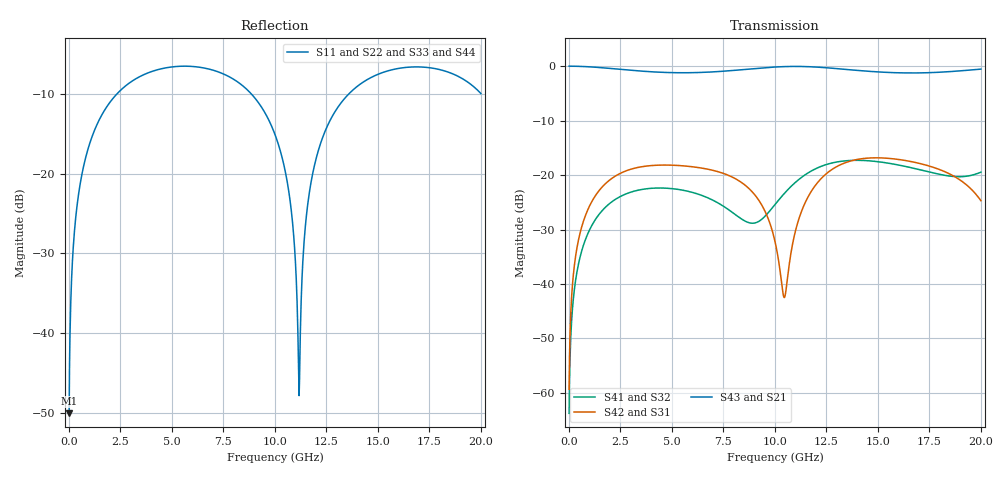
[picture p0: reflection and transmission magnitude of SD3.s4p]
! Touchstone file exported from Circuit Design 2026.1.0
!  File:  local/demo-project/Project1.aedt
!  Generated:  05:06:10 PM Apr 21, 2026
!  Design:  Circuit2
!  Project:  Project1
!  Setup:  LinearFrequency
!  Solution:  LinearFrequency
# GHz S MA R 50.000000
! Terminal data exported
! Port[1] = Port1
! Port[2] = Port2
! Port[3] = Port3
! Port[4] = Port4
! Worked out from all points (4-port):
!   1000 points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, 20 MHz to 20 GHz, reference 50 ohm
!   strongest paths, dB at 20 MHz, 5.02 GHz, 10.02 GHz, 15.02 GHz, 20 GHz:
!     S43: 0.0, -1.2, -0.2, -1.1, -0.5
!     S21: 0.0, -1.2, -0.2, -1.1, -0.5
!     S42: -59.3, -18.2, -32.4, -16.8, -24.7
!     S31: -59.3, -18.2, -32.4, -16.8, -24.7
!     S41: -63.7, -22.5, -25.4, -17.5, -19.5
!     S32: -63.7, -22.5, -25.4, -17.5, -19.5
!   lowest |S11| = -50.0 dB at 20 MHz (marker M1), VSWR 1.01, Z = 50 + j0.315 ohm
!   |S11| at or under -10 dB: start of sweep to 2.343 GHz; 8.857 GHz to 13.59 GHz (4.737 GHz wide, 42.2 % of centre)
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0.02  0.003148 88.1  0.9999 -0.4  0.001082 89.5  0.0006499 -90.7
      0.9999 -0.4  0.003148 88.1  0.0006499 -90.7  0.001082 89.5
      0.001082 89.5  0.0006499 -90.7  0.003148 88.1  0.9999 -0.4
      0.0006499 -90.7  0.001082 89.5  0.9999 -0.4  0.003148 88.1
0.92  0.1402 72.4  0.9882 -16.9  0.04775 68.4  0.02878 -120.4
      0.9882 -16.9  0.1402 72.4  0.02878 -120.4  0.04775 68.4
      0.04775 68.4  0.02878 -120.4  0.1402 72.4  0.9882 -16.9
      0.02878 -120.4  0.04775 68.4  0.9882 -16.9  0.1402 72.4
4.1  0.4396 20.9  0.886 -68.0  0.1227 10.9  0.07583 149.9
     0.886 -68.0  0.4396 20.9  0.07583 149.9  0.1227 10.9
     0.1227 10.9  0.07583 149.9  0.4396 20.9  0.886 -68.0
     0.07583 149.9  0.1227 10.9  0.886 -68.0  0.4396 20.9
9.4  0.2556 -57.0  0.9639 -146.5  0.05176 -67.5  0.03977 103.7
     0.9639 -146.5  0.2556 -57.0  0.03977 103.7  0.05176 -67.5
     0.05176 -67.5  0.03977 103.7  0.2556 -57.0  0.9639 -146.5
     0.03977 103.7  0.05176 -67.5  0.9639 -146.5  0.2556 -57.0
11.06  0.01898 -76.4  0.9946 -176.4  0.03378 96.2  0.08771 94.0
       0.9946 -176.4  0.01898 -76.4  0.08771 94.0  0.03378 96.2
       0.03378 96.2  0.08771 94.0  0.01898 -76.4  0.9946 -176.4
       0.08771 94.0  0.03378 96.2  0.9946 -176.4  0.01898 -76.4
13.46  0.3031 47.9  0.9333 141.6  0.1307 32.5  0.1354 34.0
       0.9333 141.6  0.3031 47.9  0.1354 34.0  0.1307 32.5
       0.1307 32.5  0.1354 34.0  0.3031 47.9  0.9333 141.6
       0.1354 34.0  0.1307 32.5  0.9333 141.6  0.3031 47.9
20  0.3176 -46.3  0.9395 44.7  0.05822 -82.9  0.1064 -53.8
    0.9395 44.7  0.3176 -46.3  0.1064 -53.8  0.05822 -82.9
    0.05822 -82.9  0.1064 -53.8  0.3176 -46.3  0.9395 44.7
    0.1064 -53.8  0.05822 -82.9  0.9395 44.7  0.3176 -46.3
